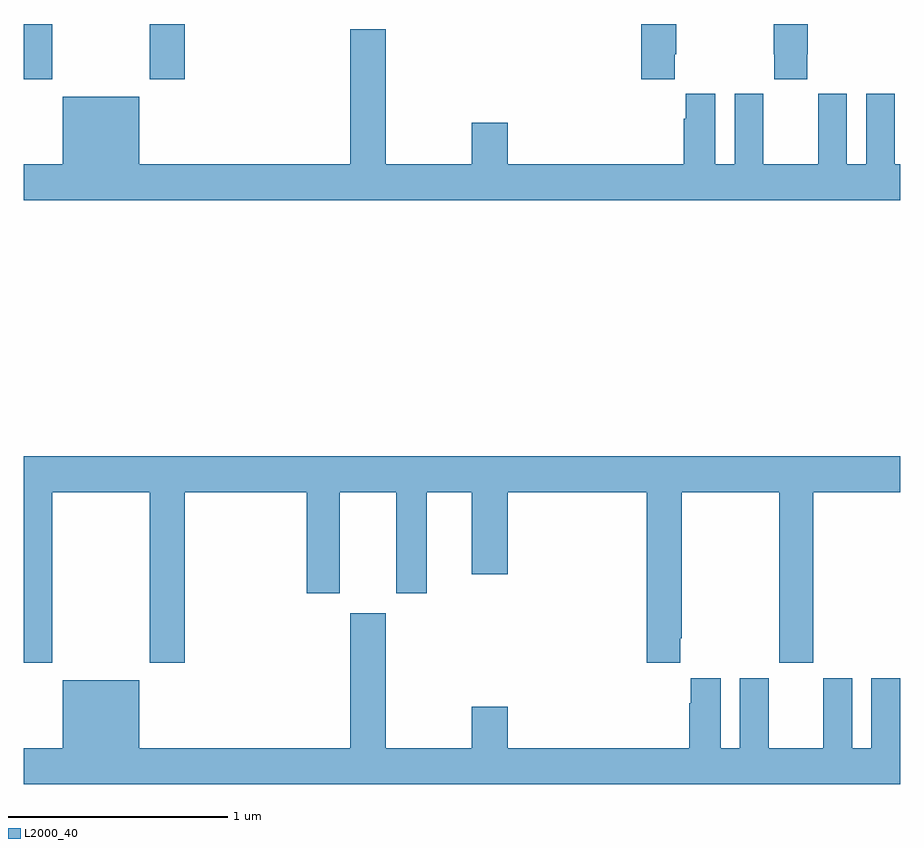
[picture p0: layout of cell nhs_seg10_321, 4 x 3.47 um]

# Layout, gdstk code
import gdstk
lib = gdstk.Library(unit=1e-6, precision=1e-09)
def R(c, l, rs):  # rectangles x0, y0, x1, y1
    for r in rs: c.add(gdstk.rectangle(r[:2], r[2:], *l))
def P(c, l, *ps):  # polygons
    for p in ps: c.add(gdstk.Polygon(p, *l))
L2000_40 = (2000, 40)

nhs_seg10_321 = lib.new_cell('nhs_seg10_321')
R(nhs_seg10_321, L2000_40, [(127,1254.249,127.131,1254.5), (127.576,1254.249,127.736,1254.5)])
P(nhs_seg10_321, L2000_40, [(129.971,1254.361),(129.977,1254.361),(129.977,1254.5),(129.818,1254.5),(129.818,1254.249),(129.971,1254.249)],
  [(130.575,1254.361),(130.578,1254.361),(130.578,1254.5),(130.423,1254.5),(130.423,1254.361),(130.425,1254.361),(130.425,1254.249),(130.575,1254.249)],
  [(131,1253.86),(130.975,1253.86),(130.975,1254.068),(130.974,1254.068),(130.974,1254.181),(130.844,1254.181),(130.844,1253.86),(130.756,1253.86),(130.756,1254.181),(130.626,1254.181),(130.626,1254.068),(130.625,1254.068),(130.625,1253.86),(130.375,1253.86),(130.375,1254.068),(130.374,1254.068),(130.374,1254.181),(130.244,1254.181),(130.244,1253.86),(130.156,1253.86),(130.156,1254.181),(130.022,1254.181),(130.022,1254.068),(130.013,1254.068),(130.013,1253.86),(129.208,1253.86),(129.208,1254.049),(129.044,1254.049),(129.044,1253.86),(128.653,1253.86),(128.653,1254.475),(128.489,1254.475),(128.489,1253.86),(127.528,1253.86),(127.528,1254.169),(127.178,1254.169),(127.178,1253.86),(127,1253.86),(127,1253.696),(131,1253.696)],
  [(127.131,1252.364),(127.576,1252.364),(127.576,1251.585),(127.736,1251.585),(127.736,1252.364),(128.291,1252.364),(128.291,1251.903),(128.443,1251.903),(128.443,1252.364),(128.699,1252.364),(128.699,1251.903),(128.839,1251.903),(128.839,1252.364),(129.044,1252.364),(129.044,1251.99),(129.208,1251.99),(129.208,1252.364),(129.842,1252.364),(129.842,1251.585),(129.997,1251.585),(129.997,1251.697),(130.002,1251.697),(130.002,1252.364),(130.447,1252.364),(130.447,1251.585),(130.602,1251.585),(130.602,1252.364),(131,1252.364),(131,1252.528),(127,1252.528),(127,1251.585),(127.131,1251.585)],
  [(131,1251.196),(130.999,1251.196),(130.999,1251.514),(130.868,1251.514),(130.868,1251.196),(130.78,1251.196),(130.78,1251.514),(130.649,1251.514),(130.649,1251.196),(130.399,1251.196),(130.399,1251.514),(130.268,1251.514),(130.268,1251.196),(130.18,1251.196),(130.18,1251.514),(130.043,1251.514),(130.043,1251.401),(130.037,1251.401),(130.037,1251.196),(129.208,1251.196),(129.208,1251.385),(129.044,1251.385),(129.044,1251.196),(128.653,1251.196),(128.653,1251.811),(128.489,1251.811),(128.489,1251.196),(127.528,1251.196),(127.528,1251.505),(127.178,1251.505),(127.178,1251.196),(127,1251.196),(127,1251.032),(131,1251.032)])

lib.write_gds('nhs_seg10_321.gds')
